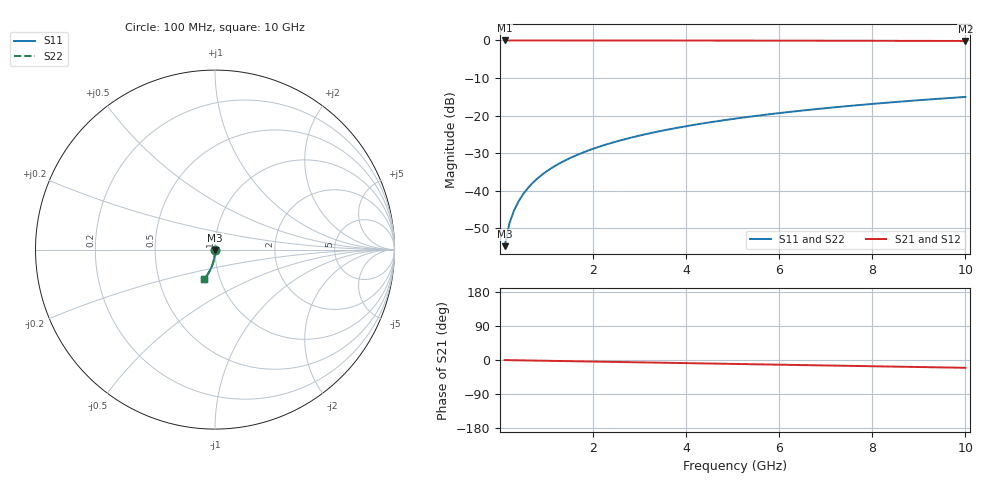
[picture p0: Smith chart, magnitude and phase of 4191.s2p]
# Hz S RI R 50.00
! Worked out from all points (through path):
!   100 points, 100 MHz to 10 GHz, reference 50 ohm
!   highest |S21| = 0.00 dB at 100 MHz (marker M1); lowest = -0.1 dB at 10 GHz (marker M2)
!   group delay of S21, straight-line fit = 5.72 ps
!   lowest |S11| = -54.8 dB at 100 MHz (marker M3), VSWR 1.00, Z = 50 - j0.181 ohm
!   |S11| at or under -10 dB: start of sweep to end of sweep
!   |S22| runs from -54.8 to -15.0 dB; largest |S21 - S12| = 0
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1e8  0.00028 -0.00181  0.9997 -0.00358  0.9997 -0.00358  0.00028 -0.00181
2e8  0.00026 -0.00361  0.9997 -0.00717  0.9997 -0.00717  0.00026 -0.00361
3e8  0.000227 -0.00542  0.9996 -0.0107  0.9996 -0.0107  0.000227 -0.00542
4e8  0.00018 -0.00723  0.9996 -0.0143  0.9996 -0.0143  0.00018 -0.00723
5e8  0.00012 -0.00903  0.9995 -0.0179  0.9995 -0.0179  0.00012 -0.00903
6e8  4.72e-05 -0.0108  0.9994 -0.0215  0.9994 -0.0215  4.72e-05 -0.0108
7e8  -3.87e-05 -0.0126  0.9993 -0.0251  0.9993 -0.0251  -3.87e-05 -0.0126
8e8  -0.000138 -0.0144  0.9992 -0.0287  0.9992 -0.0287  -0.000138 -0.0144
9e8  -0.00025 -0.0163  0.999 -0.0322  0.999 -0.0322  -0.00025 -0.0163
1.1e9  -0.000513 -0.0199  0.9987 -0.0394  0.9987 -0.0394  -0.000513 -0.0199
1.4e9  -0.001 -0.0253  0.9981 -0.0502  0.9981 -0.0502  -0.001 -0.0253
1.8e9  -0.00184 -0.0325  0.997 -0.0645  0.997 -0.0645  -0.00184 -0.0325
2.1e9  -0.00261 -0.0378  0.9961 -0.0752  0.9961 -0.0752  -0.00261 -0.0378
2.5e9  -0.0038 -0.045  0.9946 -0.0895  0.9946 -0.0895  -0.0038 -0.045
2.9e9  -0.00521 -0.0521  0.9928 -0.1037  0.9928 -0.1037  -0.00521 -0.0521
3.4e9  -0.00725 -0.061  0.9903 -0.1215  0.9903 -0.1215  -0.00725 -0.061
4.2e9  -0.0112 -0.0749  0.9854 -0.1498  0.9854 -0.1498  -0.0112 -0.0749
5.1e9  -0.0166 -0.0904  0.9787 -0.1814  0.9787 -0.1814  -0.0166 -0.0904
5.9e9  -0.0222 -0.1038  0.9716 -0.2091  0.9716 -0.2091  -0.0222 -0.1038
6.7e9  -0.0285 -0.1168  0.9636 -0.2366  0.9636 -0.2366  -0.0285 -0.1168
8.4e9  -0.0444 -0.1431  0.9435 -0.2937  0.9435 -0.2937  -0.0444 -0.1431
1e10  -0.0621 -0.1658  0.9209 -0.3455  0.9209 -0.3455  -0.0621 -0.1658
